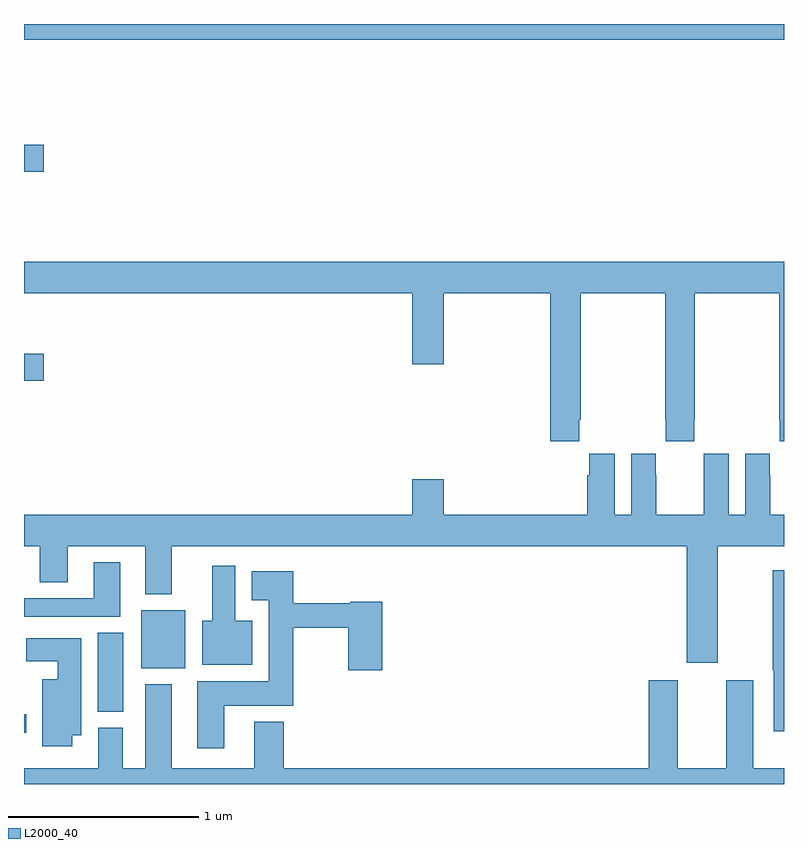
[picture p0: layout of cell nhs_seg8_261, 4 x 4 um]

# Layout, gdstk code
import gdstk
lib = gdstk.Library(unit=1e-6, precision=1e-09)
def R(c, l, rs):  # rectangles x0, y0, x1, y1
    for r in rs: c.add(gdstk.rectangle(r[:2], r[2:], *l))
def P(c, l, *ps):  # polygons
    for p in ps: c.add(gdstk.Polygon(p, *l))
L2000_40 = (2000, 40)

nhs_seg8_261 = lib.new_cell('nhs_seg8_261')
R(nhs_seg8_261, L2000_40, [(127,1130.171,127.012,1130.268), (127.388,1130.281,127.522,1130.696), (127.616,1130.51,127.849,1130.815), (127,1132.022,127.105,1132.164), (127,1133.122,127.105,1133.264), (127,1133.816,131,1133.9)])
P(nhs_seg8_261, L2000_40, [(129.923,1131.817),(129.93,1131.817),(129.93,1132.484),(130.375,1132.484),(130.375,1131.817),(130.377,1131.817),(130.377,1131.705),(130.527,1131.705),(130.527,1131.817),(130.53,1131.817),(130.53,1132.484),(130.975,1132.484),(130.975,1131.817),(130.977,1131.817),(130.977,1131.705),(131,1131.705),(131,1132.648),(127,1132.648),(127,1132.484),(129.044,1132.484),(129.044,1132.11),(129.208,1132.11),(129.208,1132.484),(129.77,1132.484),(129.77,1131.705),(129.923,1131.705)],
  [(130.651,1131.152),(131,1131.152),(131,1131.316),(130.927,1131.316),(130.927,1131.524),(130.926,1131.524),(130.926,1131.637),(130.796,1131.637),(130.796,1131.316),(130.708,1131.316),(130.708,1131.637),(130.578,1131.637),(130.578,1131.524),(130.577,1131.524),(130.577,1131.316),(130.327,1131.316),(130.327,1131.524),(130.326,1131.524),(130.326,1131.637),(130.196,1131.637),(130.196,1131.316),(130.108,1131.316),(130.108,1131.637),(129.974,1131.637),(129.974,1131.524),(129.965,1131.524),(129.965,1131.316),(129.208,1131.316),(129.208,1131.505),(129.044,1131.505),(129.044,1131.316),(127,1131.316),(127,1131.152),(127.084,1131.152),(127.084,1130.962),(127.231,1130.962),(127.231,1131.152),(127.637,1131.152),(127.637,1130.9),(127.777,1130.9),(127.777,1131.152),(130.487,1131.152),(130.487,1130.538),(130.651,1130.538)],
  [(127.507,1131.067),(127.367,1131.067),(127.367,1130.877),(127,1130.877),(127,1130.781),(127.507,1130.781)],
  [(128.2,1130.758),(128.113,1130.758),(128.113,1131.049),(127.991,1131.049),(127.991,1130.758),(127.937,1130.758),(127.937,1130.528),(128.2,1130.528)],
  [(131,1131.025),(130.942,1131.025),(130.942,1130.5),(130.947,1130.5),(130.947,1130.178),(131,1130.178)],
  [(128.053,1130.312),(128.418,1130.312),(128.418,1130.722),(128.707,1130.722),(128.707,1130.499),(128.885,1130.499),(128.885,1130.859),(128.718,1130.859),(128.718,1130.851),(128.418,1130.851),(128.418,1131.019),(128.198,1131.019),(128.198,1130.867),(128.288,1130.867),(128.288,1130.44),(127.913,1130.44),(127.913,1130.088),(128.053,1130.088)],
  [(127.255,1130.156),(127.3,1130.156),(127.3,1130.668),(127.013,1130.668),(127.013,1130.546),(127.178,1130.546),(127.178,1130.452),(127.097,1130.452),(127.097,1130.1),(127.255,1130.1)],
  [(131,1129.984),(130.837,1129.984),(130.837,1130.446),(130.697,1130.446),(130.697,1129.984),(130.441,1129.984),(130.441,1130.446),(130.289,1130.446),(130.289,1129.984),(128.366,1129.984),(128.366,1130.227),(128.213,1130.227),(128.213,1129.984),(127.777,1129.984),(127.777,1130.425),(127.637,1130.425),(127.637,1129.984),(127.519,1129.984),(127.519,1130.196),(127.391,1130.196),(127.391,1129.984),(127,1129.984),(127,1129.9),(131,1129.9)])

lib.write_gds('nhs_seg8_261.gds')
